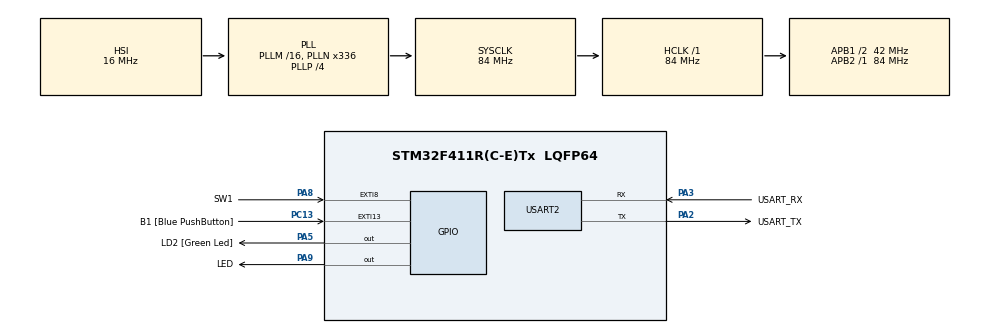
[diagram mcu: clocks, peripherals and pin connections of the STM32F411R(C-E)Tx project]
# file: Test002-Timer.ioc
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ADC1.Channel-0\#ChannelRegularConversion=ADC_CHANNEL_TEMPSENSOR
ADC1.NbrOfConversionFlag=1
ADC1.Rank-0\#ChannelRegularConversion=1
ADC1.SamplingTime-0\#ChannelRegularConversion=ADC_SAMPLETIME_3CYCLES
ADC1.master=1
Mcu.Family=STM32F4
Mcu.Name=STM32F411R(C-E)Tx
Mcu.Package=LQFP64
NVIC.EXTI15_10_IRQn=true\:0\:0\:false\:false\:true\:true\:true\:true
NVIC.EXTI9_5_IRQn=true\:0\:0\:false\:false\:true\:true\:true\:true
NVIC.PriorityGroup=NVIC_PRIORITYGROUP_0
NVIC.TIM2_IRQn=true\:0\:0\:false\:false\:true\:true\:true\:true
NVIC.TIM3_IRQn=true\:0\:0\:false\:false\:true\:true\:true\:true
PA13.GPIO_Label=TMS
PA13.Mode=Serial_Wire
PA13.Signal=SYS_JTMS-SWDIO
PA14.GPIO_Label=TCK
PA14.Mode=Serial_Wire
PA14.Signal=SYS_JTCK-SWCLK
PA2.GPIO_Label=USART_TX
PA2.Mode=Asynchronous
PA2.Signal=USART2_TX
PA3.GPIO_Label=USART_RX
PA3.Mode=Asynchronous
PA3.Signal=USART2_RX
PA5.GPIO_Label=LD2 [Green Led]
PA5.PinState=GPIO_PIN_SET
PA5.Signal=GPIO_Output
PA8.GPIO_Label=SW1
PA8.GPIO_ModeDefaultEXTI=GPIO_MODE_IT_FALLING
PA8.Signal=GPXTI8
PA9.GPIO_Label=LED
PA9.PinState=GPIO_PIN_SET
PA9.Signal=GPIO_Output
PB3.Signal=SYS_JTDO-SWO
PC13-ANTI_TAMP.GPIO_Label=B1 [Blue PushButton]
PC13-ANTI_TAMP.GPIO_ModeDefaultEXTI=GPIO_MODE_IT_FALLING
PC13-ANTI_TAMP.Signal=GPXTI13
PC14-OSC32_IN.Mode=LSE-External-Oscillator
PC14-OSC32_IN.Signal=RCC_OSC32_IN
PC15-OSC32_OUT.Mode=LSE-External-Oscillator
PC15-OSC32_OUT.Signal=RCC_OSC32_OUT
PH0\ -\ OSC_IN.Mode=HSE-External-Clock-Source
PH0\ -\ OSC_IN.Signal=RCC_OSC_IN
PH1\ -\ OSC_OUT.Mode=HSE-External-Clock-Source
PH1\ -\ OSC_OUT.Signal=RCC_OSC_OUT
ProjectManager.HeapSize=0x200
ProjectManager.StackSize=0x400
ProjectManager.TargetToolchain=STM32CubeIDE
RCC.48MHZClocksFreq_Value=84000000
RCC.AHBFreq_Value=84000000
RCC.APB1CLKDivider=RCC_HCLK_DIV2
RCC.APB1Freq_Value=42000000
RCC.APB1TimFreq_Value=84000000
RCC.APB2Freq_Value=84000000
RCC.APB2TimFreq_Value=84000000
RCC.CortexFreq_Value=84000000
RCC.FLatency-AdvancedSettings=FLASH_LATENCY_2
RCC.HCLKFreq_Value=84000000
RCC.HSE_VALUE=8000000
RCC.HSI_VALUE=16000000
RCC.PLLN=336
RCC.PLLP=RCC_PLLP_DIV4
RCC.SYSCLKFreq_VALUE=84000000
RCC.SYSCLKSource=RCC_SYSCLKSOURCE_PLLCLK
RCC.VCOOutputFreq_Value=336000000
TIM2.Period=5000-1
TIM2.Prescaler=8400-1
TIM3.Period=10000-1
TIM3.Prescaler=8400-1
USART2.VirtualMode=VM_ASYNC
VP_ADC1_TempSens_Input.Mode=IN-TempSens
VP_TIM2_VS_ClockSourceINT.Mode=Internal
VP_TIM3_VS_ClockSourceINT.Mode=Internal
board=NUCLEO-F411RE

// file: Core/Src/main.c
/* USER CODE BEGIN Header */
/**
  ******************************************************************************
  * @file           : main.c
  * @brief          : Main program body
  ******************************************************************************
  * @attention
  *
  * Copyright (c) 2024 STMicroelectronics.
  * All rights reserved.
  *
  * This software is licensed under terms that can be found in the LICENSE file
  * in the root directory of this software component.
  * If no LICENSE file comes with this software, it is provided AS-IS.
  *
  ******************************************************************************
  */
/* USER CODE END Header */
#include "main.h"

ADC_HandleTypeDef hadc1;

TIM_HandleTypeDef htim2;
TIM_HandleTypeDef htim3;

UART_HandleTypeDef huart2;

void SystemClock_Config(void);
static void MX_GPIO_Init(void);
static void MX_USART2_UART_Init(void);
static void MX_TIM3_Init(void);
static void MX_TIM2_Init(void);
static void MX_ADC1_Init(void);

/* USER CODE BEGIN 0 */
// void HAL_TIM_PeriodElapsedCallback(TIM_HandleTypeDef *htim);
void HAL_TIM_PeriodElapsedCallback(TIM_HandleTypeDef *htim)
{
	// void HAL_GPIO_TogglePin(GPIO_TypeDef* GPIOx, uint16_t GPIO_Pin)
	if (htim == &htim3)		HAL_GPIO_TogglePin(LD2_GPIO_Port, LD2_Pin); // LD2 : Variable Toggle Interval by Timer3
	else if (htim == &htim2)	HAL_GPIO_TogglePin(LED_GPIO_Port, LED_Pin); // LED : Fixed Toggle Interval by Timer2
	// LD2 : On-board LED2
	// LED : Red_LED on Breadboard
}

void HAL_GPIO_EXTI_Callback(uint16_t SW)
{
	switch (SW)
	{
		case B1_Pin : // Increase Toggle Interval

			if (htim3.Instance->ARR > 8000)	htim3.Instance->ARR = 2000;
			else							htim3.Instance->ARR = htim3.Instance->ARR + 1000;

			break;

		case SW1_Pin : // Decrease Toggle Interval

			if (htim3.Instance->ARR < 2000)	htim3.Instance->ARR = 8000;
			else 							htim3.Instance->ARR = htim3.Instance->ARR - 1000;

			break;

	}
}
/* USER CODE END 0 */

int main(void)
{

  /* MCU Configuration--------------------------------------------------------*/

  /* Reset of all peripherals, Initializes the Flash interface and the Systick. */
  HAL_Init();

  /* Configure the system clock */
  SystemClock_Config();

  /* Initialize all configured peripherals */
  MX_GPIO_Init();
  MX_USART2_UART_Init();
  MX_TIM3_Init();
  MX_TIM2_Init();
  MX_ADC1_Init();
  /* USER CODE BEGIN 2 */
  HAL_TIM_Base_Start_IT(&htim2); // Start Timer 2 Function
  HAL_TIM_Base_Start_IT(&htim3); // Start Timer 3 Function

  /* USER CODE END 2 */

  /* Infinite loop */
  while (1)
  {

  }
}

void SystemClock_Config(void)
{
  RCC_OscInitTypeDef RCC_OscInitStruct = {0};
  RCC_ClkInitTypeDef RCC_ClkInitStruct = {0};

  /** Configure the main internal regulator output voltage
  */
  __HAL_RCC_PWR_CLK_ENABLE();
  __HAL_PWR_VOLTAGESCALING_CONFIG(PWR_REGULATOR_VOLTAGE_SCALE1);

  /** Initializes the RCC Oscillators according to the specified parameters
  * in the RCC_OscInitTypeDef structure.
  */
  RCC_OscInitStruct.OscillatorType = RCC_OSCILLATORTYPE_HSI;
  RCC_OscInitStruct.HSIState = RCC_HSI_ON;
  RCC_OscInitStruct.HSICalibrationValue = RCC_HSICALIBRATION_DEFAULT;
  RCC_OscInitStruct.PLL.PLLState = RCC_PLL_ON;
  RCC_OscInitStruct.PLL.PLLSource = RCC_PLLSOURCE_HSI;
  RCC_OscInitStruct.PLL.PLLM = 16;
  RCC_OscInitStruct.PLL.PLLN = 336;
  RCC_OscInitStruct.PLL.PLLP = RCC_PLLP_DIV4;
  RCC_OscInitStruct.PLL.PLLQ = 4;
  if (HAL_RCC_OscConfig(&RCC_OscInitStruct) != HAL_OK)
  {
    Error_Handler();
  }

  /** Initializes the CPU, AHB and APB buses clocks
  */
  RCC_ClkInitStruct.ClockType = RCC_CLOCKTYPE_HCLK|RCC_CLOCKTYPE_SYSCLK
                              |RCC_CLOCKTYPE_PCLK1|RCC_CLOCKTYPE_PCLK2;
  RCC_ClkInitStruct.SYSCLKSource = RCC_SYSCLKSOURCE_PLLCLK;
  RCC_ClkInitStruct.AHBCLKDivider = RCC_SYSCLK_DIV1;
  RCC_ClkInitStruct.APB1CLKDivider = RCC_HCLK_DIV2;
  RCC_ClkInitStruct.APB2CLKDivider = RCC_HCLK_DIV1;

  if (HAL_RCC_ClockConfig(&RCC_ClkInitStruct, FLASH_LATENCY_2) != HAL_OK)
  {
    Error_Handler();
  }
}

static void MX_ADC1_Init(void)
{

  ADC_ChannelConfTypeDef sConfig = {0};

  /** Configure the global features of the ADC (Clock, Resolution, Data Alignment and number of conversion)
  */
  hadc1.Instance = ADC1;
  hadc1.Init.ClockPrescaler = ADC_CLOCK_SYNC_PCLK_DIV4;
  hadc1.Init.Resolution = ADC_RESOLUTION_12B;
  hadc1.Init.ScanConvMode = DISABLE;
  hadc1.Init.ContinuousConvMode = DISABLE;
  hadc1.Init.DiscontinuousConvMode = DISABLE;
  hadc1.Init.ExternalTrigConvEdge = ADC_EXTERNALTRIGCONVEDGE_NONE;
  hadc1.Init.ExternalTrigConv = ADC_SOFTWARE_START;
  hadc1.Init.DataAlign = ADC_DATAALIGN_RIGHT;
  hadc1.Init.NbrOfConversion = 1;
  hadc1.Init.DMAContinuousRequests = DISABLE;
  hadc1.Init.EOCSelection = ADC_EOC_SINGLE_CONV;
  if (HAL_ADC_Init(&hadc1) != HAL_OK)
  {
    Error_Handler();
  }

  /** Configure for the selected ADC regular channel its corresponding rank in the sequencer and its sample time.
  */
  sConfig.Channel = ADC_CHANNEL_TEMPSENSOR;
  sConfig.Rank = 1;
  sConfig.SamplingTime = ADC_SAMPLETIME_3CYCLES;
  if (HAL_ADC_ConfigChannel(&hadc1, &sConfig) != HAL_OK)
  {
    Error_Handler();
  }

}

static void MX_TIM2_Init(void)
{

  TIM_ClockConfigTypeDef sClockSourceConfig = {0};
  TIM_MasterConfigTypeDef sMasterConfig = {0};

  htim2.Instance = TIM2;
  htim2.Init.Prescaler = 8400-1;
  htim2.Init.CounterMode = TIM_COUNTERMODE_UP;
  htim2.Init.Period = 5000-1;
  htim2.Init.ClockDivision = TIM_CLOCKDIVISION_DIV1;
  htim2.Init.AutoReloadPreload = TIM_AUTORELOAD_PRELOAD_DISABLE;
  if (HAL_TIM_Base_Init(&htim2) != HAL_OK)
  {
    Error_Handler();
  }
  sClockSourceConfig.ClockSource = TIM_CLOCKSOURCE_INTERNAL;
  if (HAL_TIM_ConfigClockSource(&htim2, &sClockSourceConfig) != HAL_OK)
  {
    Error_Handler();
  }
  sMasterConfig.MasterOutputTrigger = TIM_TRGO_RESET;
  sMasterConfig.MasterSlaveMode = TIM_MASTERSLAVEMODE_DISABLE;
  if (HAL_TIMEx_MasterConfigSynchronization(&htim2, &sMasterConfig) != HAL_OK)
  {
    Error_Handler();
  }

}

static void MX_TIM3_Init(void)
{

  TIM_ClockConfigTypeDef sClockSourceConfig = {0};
  TIM_MasterConfigTypeDef sMasterConfig = {0};

  htim3.Instance = TIM3;
  htim3.Init.Prescaler = 8400-1;
  htim3.Init.CounterMode = TIM_COUNTERMODE_UP;
  htim3.Init.Period = 10000-1;
  htim3.Init.ClockDivision = TIM_CLOCKDIVISION_DIV1;
  htim3.Init.AutoReloadPreload = TIM_AUTORELOAD_PRELOAD_DISABLE;
  if (HAL_TIM_Base_Init(&htim3) != HAL_OK)
  {
    Error_Handler();
  }
  sClockSourceConfig.ClockSource = TIM_CLOCKSOURCE_INTERNAL;
  if (HAL_TIM_ConfigClockSource(&htim3, &sClockSourceConfig) != HAL_OK)
  {
    Error_Handler();
  }
  sMasterConfig.MasterOutputTrigger = TIM_TRGO_RESET;
  sMasterConfig.MasterSlaveMode = TIM_MASTERSLAVEMODE_DISABLE;
  if (HAL_TIMEx_MasterConfigSynchronization(&htim3, &sMasterConfig) != HAL_OK)
  {
    Error_Handler();
  }

}

static void MX_USART2_UART_Init(void)
{

  huart2.Instance = USART2;
  huart2.Init.BaudRate = 115200;
  huart2.Init.WordLength = UART_WORDLENGTH_8B;
  huart2.Init.StopBits = UART_STOPBITS_1;
  huart2.Init.Parity = UART_PARITY_NONE;
  huart2.Init.Mode = UART_MODE_TX_RX;
  huart2.Init.HwFlowCtl = UART_HWCONTROL_NONE;
  huart2.Init.OverSampling = UART_OVERSAMPLING_16;
  if (HAL_UART_Init(&huart2) != HAL_OK)
  {
    Error_Handler();
  }

}

static void MX_GPIO_Init(void)
{
  GPIO_InitTypeDef GPIO_InitStruct = {0};

  /* GPIO Ports Clock Enable */
  __HAL_RCC_GPIOC_CLK_ENABLE();
  __HAL_RCC_GPIOH_CLK_ENABLE();
  __HAL_RCC_GPIOA_CLK_ENABLE();
  __HAL_RCC_GPIOB_CLK_ENABLE();

  /*Configure GPIO pin Output Level */
  HAL_GPIO_WritePin(GPIOA, LD2_Pin|LED_Pin, GPIO_PIN_SET);

  /*Configure GPIO pin : B1_Pin */
  GPIO_InitStruct.Pin = B1_Pin;
  GPIO_InitStruct.Mode = GPIO_MODE_IT_FALLING;
  GPIO_InitStruct.Pull = GPIO_NOPULL;
  HAL_GPIO_Init(B1_GPIO_Port, &GPIO_InitStruct);

  /*Configure GPIO pins : LD2_Pin LED_Pin */
  GPIO_InitStruct.Pin = LD2_Pin|LED_Pin;
  GPIO_InitStruct.Mode = GPIO_MODE_OUTPUT_PP;
  GPIO_InitStruct.Pull = GPIO_NOPULL;
  GPIO_InitStruct.Speed = GPIO_SPEED_FREQ_LOW;
  HAL_GPIO_Init(GPIOA, &GPIO_InitStruct);

  /*Configure GPIO pin : SW1_Pin */
  GPIO_InitStruct.Pin = SW1_Pin;
  GPIO_InitStruct.Mode = GPIO_MODE_IT_FALLING;
  GPIO_InitStruct.Pull = GPIO_NOPULL;
  HAL_GPIO_Init(SW1_GPIO_Port, &GPIO_InitStruct);

  /* EXTI interrupt init*/
  HAL_NVIC_SetPriority(EXTI9_5_IRQn, 0, 0);
  HAL_NVIC_EnableIRQ(EXTI9_5_IRQn);

  HAL_NVIC_SetPriority(EXTI15_10_IRQn, 0, 0);
  HAL_NVIC_EnableIRQ(EXTI15_10_IRQn);

}

void Error_Handler(void)
{
  __disable_irq();
  while (1)
  {
  }
}
